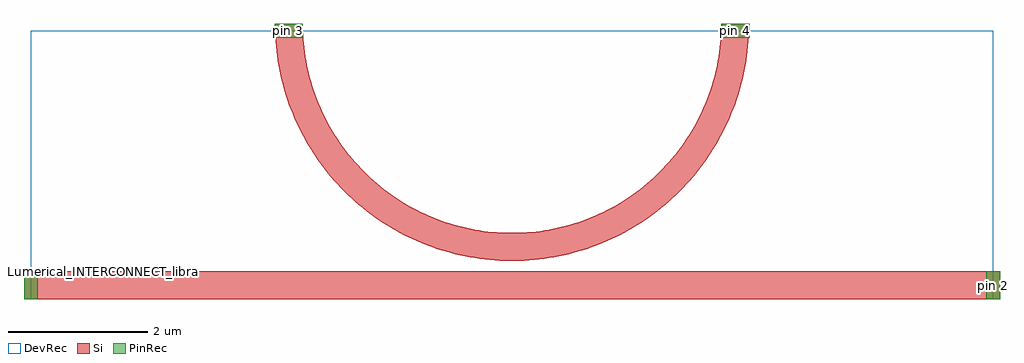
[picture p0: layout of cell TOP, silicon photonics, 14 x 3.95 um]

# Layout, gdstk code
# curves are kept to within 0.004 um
from math import pi, radians
import gdstk
lib = gdstk.Library(unit=1e-6, precision=1e-09)
def R(c, l, rs):  # rectangles x0, y0, x1, y1
    for r in rs: c.add(gdstk.rectangle(r[:2], r[2:], *l))
def P(c, l, *ps):  # polygons
    for p in ps: c.add(gdstk.Polygon(p, *l))
Si = (1, 0)
PinRec = (1, 10)
DevRec = (68, 0)

arc_1 = lib.new_cell('ARC$1')
P(arc_1, Si, [(-3.4,0),(-3.396,0.178),(-3.378,0.391),(-3.333,0.672),(-3.302,0.811),(-3.245,1.017),(-3.148,1.285),(-3.03,1.544),(-2.927,1.731),(-2.852,1.852),(-2.772,1.97),(-2.642,2.14),(-2.551,2.249),(-2.404,2.404),(-2.195,2.597),(-1.97,2.772),(-1.792,2.89),(-1.607,2.997),(-1.35,3.121),(-1.152,3.199),(-1.017,3.245),(-0.811,3.302),(-0.672,3.333),(-0.391,3.378),(-0.178,3.396),(-0.036,3.4),(0.107,3.399),(0.32,3.385),(0.461,3.369),(0.672,3.333),(0.811,3.302),(1.017,3.245),(1.285,3.148),(1.544,3.03),(1.731,2.927),(1.852,2.852),(2.084,2.687),(2.249,2.551),(2.353,2.454),(2.551,2.249),(2.687,2.084),(2.772,1.97),(2.89,1.792),(2.997,1.607),(3.121,1.35),(3.199,1.152),(3.245,1.017),(3.302,0.811),(3.333,0.672),(3.378,0.391),(3.396,0.178),(3.4,0.036),(3.4,0),(3,0),(2.987,0.282),(2.963,0.469),(2.928,0.654),(2.881,0.837),(2.843,0.957),(2.778,1.134),(2.728,1.249),(2.614,1.473),(2.516,1.634),(2.409,1.789),(2.292,1.936),(2.165,2.077),(1.936,2.292),(1.738,2.446),(1.473,2.614),(1.249,2.728),(1.016,2.823),(0.776,2.898),(0.531,2.953),(0.282,2.987),(0.094,2.999),(-0.031,3),(-0.282,2.987),(-0.531,2.953),(-0.716,2.914),(-0.837,2.881),(-1.075,2.801),(-1.306,2.701),(-1.473,2.614),(-1.581,2.55),(-1.789,2.409),(-1.984,2.25),(-2.077,2.165),(-2.208,2.031),(-2.332,1.888),(-2.409,1.789),(-2.516,1.634),(-2.614,1.473),(-2.728,1.249),(-2.778,1.134),(-2.843,0.957),(-2.881,0.837),(-2.928,0.654),(-2.963,0.469),(-2.987,0.282),(-3,0)])

top = lib.new_cell('TOP')
R(top, Si, [(0,-0.2,14,0.2)])
R(top, DevRec, [(0.1,-0.2,13.9,3.65)])
top.add(gdstk.FlexPath([(0,0),(0.2,0)], 0.4, ends="flush", simple_path=True, layer=1, datatype=10))  # PinRec
top.add(gdstk.FlexPath([(3.8,3.75),(3.8,3.55)], 0.4, ends="flush", simple_path=True, layer=1, datatype=10))  # PinRec
top.add(gdstk.FlexPath([(10.21,3.75),(10.21,3.55)], 0.4, ends="flush", simple_path=True, layer=1, datatype=10))  # PinRec
top.add(gdstk.FlexPath([(14,0),(13.8,0)], 0.4, ends="flush", simple_path=True, layer=1, datatype=10))  # PinRec
top.add(gdstk.Reference(arc_1, (7,3.75), rotation=pi))
top.add(gdstk.Label('Lumerical_INTERCONNECT_library=Custom/ebeam_user', (1.14,0.2), layer=68, texttype=0))
top.add(gdstk.Label('pin 1', (0.1,0), layer=1, texttype=10))
top.add(gdstk.Label('pin 2', (13.9,0), layer=1, texttype=10))
top.add(gdstk.Label('pin 3', (3.8,3.66), layer=1, texttype=10))
top.add(gdstk.Label('pin 4', (10.21,3.65), layer=1, texttype=10))

lib.write_gds('TOP.gds')
